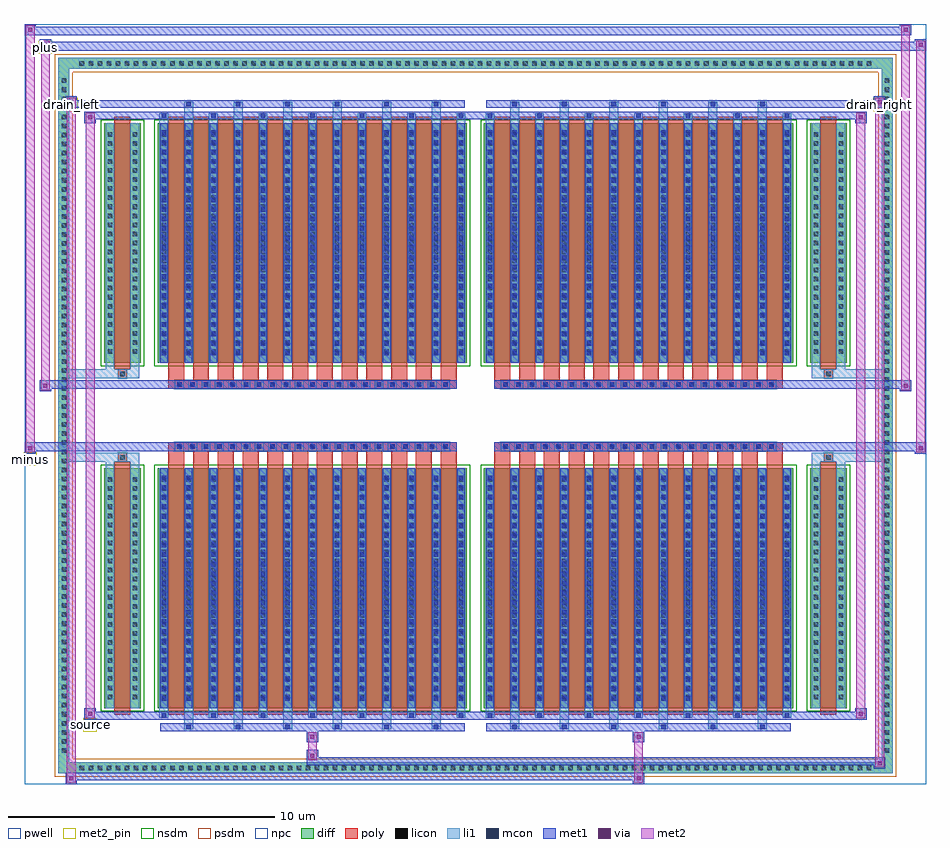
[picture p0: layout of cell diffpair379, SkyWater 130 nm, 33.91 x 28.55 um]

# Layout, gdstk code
import gdstk
lib = gdstk.Library(unit=1e-6, precision=5e-09)
def R(c, l, rs):  # rectangles x0, y0, x1, y1
    for r in rs: c.add(gdstk.rectangle(r[:2], r[2:], *l))
def A(c, l, x, y, w, h, nx, ny, dx, dy):  # array of equal rectangles
    R(c, l, [(x+i*dx, y+j*dy, x+i*dx+w, y+j*dy+h) for i in range(nx) for j in range(ny)])
def P(c, l, *ps):  # polygons
    for p in ps: c.add(gdstk.Polygon(p, *l))
pwell = (64, 44)
diff = (65, 20)
poly = (66, 20)
licon = (66, 44)
li1 = (67, 20)
mcon = (67, 44)
met1 = (68, 20)
via = (68, 44)
met2_pin = (69, 16)
met2 = (69, 20)
nsdm = (93, 44)
psdm = (94, 20)
npc = (95, 20)

diffpair379 = lib.new_cell('diffpair379')
R(diffpair379, pwell, [(-16.94,-13.84,16.94,14.71), (-14.26,-12.03,-0.01,-0.805), (0.01,-12.03,14.26,-0.805), (-14.26,0.805,-0.01,12.03), (0.01,0.805,14.26,12.03)])
A(diffpair379, diff, -14.995, -13.44, 0.41, 0.41, 88, 2, 0.34, 26.47)
A(diffpair379, diff, -15.67, -12.785, 0.41, 0.41, 1, 75, 0, 0.34)
A(diffpair379, diff, 15.26, -12.785, 0.41, 0.41, 1, 75, 0, 0.34)
R(diffpair379, diff, [(-14.995,-13.44,14.995,-13.03), (-15.67,-12.785,-15.26,12.785), (15.26,-12.785,15.67,12.785), (-13.95,-10.985,-12.57,-1.985), (-11.93,-10.985,-0.32,-1.985), (0.32,-10.985,11.93,-1.985), (12.57,-10.985,13.95,-1.985), (-13.95,1.985,-12.57,10.985), (-11.93,1.985,-0.32,10.985), (0.32,1.985,11.93,10.985), (12.57,1.985,13.95,10.985), (-14.995,13.03,14.995,13.44)])
P(diffpair379, diff, [(15.67,13.44),(-15.67,13.44),(-15.67,-13.03),(-15.26,-13.03),(-15.26,13.03),(15.26,13.03),(15.26,-13.03),(-15.26,-13.03),(-15.67,-13.03),(-15.67,-13.44),(15.67,-13.44)])
A(diffpair379, poly, -11.54, -11.235, 0.6, 9.5, 12, 2, 0.93, 12.97)
A(diffpair379, poly, 0.71, -11.235, 0.6, 9.5, 12, 2, 0.93, 12.97)
A(diffpair379, poly, -11.54, -1.735, 0.6, 0.4, 12, 2, 0.93, 3.07)
A(diffpair379, poly, 0.71, -1.735, 0.6, 0.4, 12, 2, 0.93, 3.07)
A(diffpair379, poly, -11.29, -1.335, 0.33, 0.33, 21, 2, 0.5, 2.34)
A(diffpair379, poly, 0.96, -1.335, 0.33, 0.33, 21, 2, 0.5, 2.34)
R(diffpair379, poly, [(-13.56,-11.235,-12.96,-1.735), (12.96,-11.235,13.56,-1.735), (-13.425,-1.735,-13.095,-1.405), (-13.425,-1.735,-13.095,-1.405), (13.095,-1.735,13.425,-1.405), (13.095,-1.735,13.425,-1.405), (-11.54,-1.335,-0.71,-1.005), (0.71,-1.335,11.54,-1.005), (-11.54,1.005,-0.71,1.335), (0.71,1.005,11.54,1.335), (-13.425,1.405,-13.095,1.735), (-13.425,1.405,-13.095,1.735), (13.095,1.405,13.425,1.735), (13.095,1.405,13.425,1.735), (-13.56,1.735,-12.96,11.235), (12.96,1.735,13.56,11.235)])
A(diffpair379, licon, -14.875, -13.32, 0.17, 0.17, 88, 2, 0.34, 26.47)
A(diffpair379, licon, -15.55, -12.665, 0.17, 0.17, 1, 75, 0, 0.34)
A(diffpair379, licon, 15.38, -12.665, 0.17, 0.17, 1, 75, 0, 0.34)
A(diffpair379, licon, -13.81, -10.65, 0.17, 0.17, 1, 25, 0, 0.34)
A(diffpair379, licon, -12.88, -10.65, 0.17, 0.17, 1, 25, 0, 0.34)
A(diffpair379, licon, -11.79, -10.65, 0.17, 0.17, 13, 25, 0.93, 0.34)
A(diffpair379, licon, 0.46, -10.65, 0.17, 0.17, 13, 25, 0.93, 0.34)
A(diffpair379, licon, 12.71, -10.65, 0.17, 0.17, 1, 25, 0, 0.34)
A(diffpair379, licon, 13.64, -10.65, 0.17, 0.17, 1, 25, 0, 0.34)
A(diffpair379, licon, -11.21, -1.255, 0.17, 0.17, 21, 2, 0.5, 2.34)
A(diffpair379, licon, 1.04, -1.255, 0.17, 0.17, 21, 2, 0.5, 2.34)
A(diffpair379, licon, -13.81, 2.32, 0.17, 0.17, 1, 25, 0, 0.34)
A(diffpair379, licon, -12.88, 2.32, 0.17, 0.17, 1, 25, 0, 0.34)
A(diffpair379, licon, -11.79, 2.32, 0.17, 0.17, 13, 25, 0.93, 0.34)
A(diffpair379, licon, 0.46, 2.32, 0.17, 0.17, 13, 25, 0.93, 0.34)
A(diffpair379, licon, 12.71, 2.32, 0.17, 0.17, 1, 25, 0, 0.34)
A(diffpair379, licon, 13.64, 2.32, 0.17, 0.17, 1, 25, 0, 0.34)
R(diffpair379, licon, [(-13.345,-1.655,-13.175,-1.485), (13.175,-1.655,13.345,-1.485), (-13.345,1.485,-13.175,1.655), (13.175,1.485,13.345,1.655)])
A(diffpair379, li1, -14.955, -13.4, 0.33, 0.33, 88, 2, 0.34, 26.47)
A(diffpair379, li1, -15.63, -12.745, 0.33, 0.33, 1, 75, 0, 0.34)
A(diffpair379, li1, 15.3, -12.745, 0.33, 0.33, 1, 75, 0, 0.34)
A(diffpair379, li1, -10.94, -11.79, 0.33, 0.805, 6, 2, 1.86, 22.775)
A(diffpair379, li1, -10.86, -11.79, 0.17, 0.17, 6, 2, 1.86, 23.41)
A(diffpair379, li1, 1.31, -11.79, 0.33, 0.805, 6, 2, 1.86, 22.775)
A(diffpair379, li1, 1.39, -11.79, 0.17, 0.17, 6, 2, 1.86, 23.41)
A(diffpair379, li1, -11.87, -11.36, 0.33, 0.375, 7, 2, 1.86, 22.345)
A(diffpair379, li1, -11.79, -11.36, 0.17, 0.17, 7, 2, 1.86, 22.55)
A(diffpair379, li1, 0.38, -11.36, 0.33, 0.375, 7, 2, 1.86, 22.345)
A(diffpair379, li1, 0.46, -11.36, 0.17, 0.17, 7, 2, 1.86, 22.55)
A(diffpair379, li1, -11.87, -10.985, 0.33, 9, 13, 2, 0.93, 12.97)
A(diffpair379, li1, 0.38, -10.985, 0.33, 9, 13, 2, 0.93, 12.97)
A(diffpair379, li1, -13.89, -10.73, 0.33, 0.33, 1, 25, 0, 0.34)
A(diffpair379, li1, -12.96, -10.73, 0.33, 0.33, 1, 25, 0, 0.34)
A(diffpair379, li1, -11.87, -10.73, 0.33, 0.33, 13, 25, 0.93, 0.34)
A(diffpair379, li1, 0.38, -10.73, 0.33, 0.33, 13, 25, 0.93, 0.34)
A(diffpair379, li1, 12.63, -10.73, 0.33, 0.33, 1, 25, 0, 0.34)
A(diffpair379, li1, 13.56, -10.73, 0.33, 0.33, 1, 25, 0, 0.34)
A(diffpair379, li1, -11.79, -10.71, 0.17, 0.17, 13, 24, 0.93, 0.36)
A(diffpair379, li1, -11.79, -10.71, 0.17, 8.45, 13, 2, 0.93, 12.97)
A(diffpair379, li1, 0.46, -10.71, 0.17, 0.17, 13, 24, 0.93, 0.36)
A(diffpair379, li1, 0.46, -10.71, 0.17, 8.45, 13, 2, 0.93, 12.97)
A(diffpair379, li1, -11.29, -1.335, 0.33, 0.33, 21, 2, 0.5, 2.34)
A(diffpair379, li1, 0.96, -1.335, 0.33, 0.33, 21, 2, 0.5, 2.34)
A(diffpair379, li1, -13.89, 2.24, 0.33, 0.33, 1, 25, 0, 0.34)
A(diffpair379, li1, -12.96, 2.24, 0.33, 0.33, 1, 25, 0, 0.34)
A(diffpair379, li1, -11.87, 2.24, 0.33, 0.33, 13, 25, 0.93, 0.34)
A(diffpair379, li1, 0.38, 2.24, 0.33, 0.33, 13, 25, 0.93, 0.34)
A(diffpair379, li1, 12.63, 2.24, 0.33, 0.33, 1, 25, 0, 0.34)
A(diffpair379, li1, 13.56, 2.24, 0.33, 0.33, 1, 25, 0, 0.34)
A(diffpair379, li1, -11.79, 2.26, 0.17, 0.17, 13, 24, 0.93, 0.36)
A(diffpair379, li1, 0.46, 2.26, 0.17, 0.17, 13, 24, 0.93, 0.36)
R(diffpair379, li1, [(-15.67,-13.44,-15.26,-13.03), (-15.67,-13.44,-15.26,-13.03), (-15.26,-13.44,15.26,-13.03), (15.26,-13.44,15.67,-13.03), (15.26,-13.44,15.67,-13.03), (-15.67,-13.03,-15.26,13.03), (15.26,-13.03,15.67,13.03), (-13.89,-10.985,-13.56,-1.985), (-12.96,-10.985,-12.63,-1.985), (12.63,-10.985,12.96,-1.985), (13.56,-10.985,13.89,-1.985), (-13.89,-1.985,-13.56,-1.405), (-12.96,-1.985,-12.63,-1.405), (12.63,-1.985,12.96,-1.405), (13.56,-1.985,13.89,-1.405), (-15.67,-1.735,-13.425,-1.405), (-13.89,-1.735,-13.425,-1.405), (-13.425,-1.735,-13.095,-1.405), (-13.095,-1.735,-12.63,-1.405), (12.63,-1.735,13.095,-1.405), (13.095,-1.735,13.425,-1.405), (13.095,-1.735,15.67,-1.405), (13.425,-1.735,13.89,-1.405), (-15.67,1.405,-13.425,1.735), (-13.89,1.405,-13.425,1.735), (-13.89,1.405,-13.56,1.985), (-13.425,1.405,-13.095,1.735), (-13.095,1.405,-12.63,1.735), (-12.96,1.405,-12.63,1.985), (12.63,1.405,13.095,1.735), (12.63,1.405,12.96,1.985), (13.095,1.405,13.425,1.735), (13.095,1.405,15.67,1.735), (13.425,1.405,13.89,1.735), (13.56,1.405,13.89,1.985), (-13.89,1.985,-13.56,10.985), (-12.96,1.985,-12.63,10.985), (12.63,1.985,12.96,10.985), (13.56,1.985,13.89,10.985), (-15.67,13.03,-15.26,13.44), (-15.67,13.03,-15.26,13.44), (-15.26,13.03,15.26,13.44), (15.26,13.03,15.67,13.44), (15.26,13.03,15.67,13.44)])
A(diffpair379, mcon, -10.86, -11.79, 0.17, 0.17, 6, 2, 1.86, 23.41)
A(diffpair379, mcon, 1.39, -11.79, 0.17, 0.17, 6, 2, 1.86, 23.41)
A(diffpair379, mcon, -11.79, -11.36, 0.17, 0.17, 7, 2, 1.86, 22.55)
A(diffpair379, mcon, 0.46, -11.36, 0.17, 0.17, 7, 2, 1.86, 22.55)
A(diffpair379, mcon, -11.79, -10.71, 0.17, 0.17, 13, 24, 0.93, 0.36)
A(diffpair379, mcon, 0.46, -10.71, 0.17, 0.17, 13, 24, 0.93, 0.36)
A(diffpair379, mcon, -11.21, -1.255, 0.17, 0.17, 21, 2, 0.5, 2.34)
A(diffpair379, mcon, 1.04, -1.255, 0.17, 0.17, 21, 2, 0.5, 2.34)
A(diffpair379, mcon, -11.79, 2.26, 0.17, 0.17, 13, 24, 0.93, 0.36)
A(diffpair379, mcon, 0.46, 2.26, 0.17, 0.17, 13, 24, 0.93, 0.36)
A(diffpair379, met1, -10.92, -11.85, 0.29, 0.29, 6, 2, 1.86, 23.41)
A(diffpair379, met1, 1.33, -11.85, 0.29, 0.29, 6, 2, 1.86, 23.41)
A(diffpair379, met1, -11.85, -11.42, 0.29, 0.29, 7, 2, 1.86, 22.55)
A(diffpair379, met1, 0.4, -11.42, 0.29, 0.29, 7, 2, 1.86, 22.55)
A(diffpair379, met1, -11.85, -10.985, 0.29, 9, 13, 2, 0.93, 12.97)
A(diffpair379, met1, 0.4, -10.985, 0.29, 9, 13, 2, 0.93, 12.97)
A(diffpair379, met1, -11.85, -10.77, 0.29, 0.29, 13, 24, 0.93, 0.36)
A(diffpair379, met1, 0.4, -10.77, 0.29, 0.29, 13, 24, 0.93, 0.36)
A(diffpair379, met1, -11.27, -1.315, 0.29, 0.29, 21, 2, 0.5, 2.34)
A(diffpair379, met1, 0.98, -1.315, 0.29, 0.29, 21, 2, 0.5, 2.34)
A(diffpair379, met1, -11.85, 2.2, 0.29, 0.29, 13, 24, 0.93, 0.36)
A(diffpair379, met1, 0.4, 2.2, 0.29, 0.29, 13, 24, 0.93, 0.36)
R(diffpair379, met1, [(-15.4,-13.84,-14.97,-13.41), (5.91,-13.84,6.34,-13.41), (-15.4,-13.7,6.34,-13.41), (14.97,-13.27,15.4,-12.84), (-6.34,-13.13,15.4,-12.84), (-6.34,-12.99,-5.91,-12.56), (-6.34,-12.28,-5.91,-11.85), (5.91,-12.28,6.34,-11.85), (-11.85,-11.85,-0.4,-11.56), (0.4,-11.85,11.85,-11.56), (-14.69,-11.42,-14.26,-10.99), (-14.69,-11.42,-11.85,-11.13), (-11.85,-11.42,-0.4,-11.13), (-0.4,-11.42,0.4,-11.13), (0.4,-11.42,11.85,-11.13), (11.85,-11.42,14.69,-11.13), (14.26,-11.42,14.69,-10.99), (-16.94,-1.435,-16.51,-1.005), (16.51,-1.435,16.94,-1.005), (-16.94,-1.335,-0.71,-1.005), (-11.54,-1.335,-0.71,-1.005), (0.71,-1.335,11.54,-1.005), (0.71,-1.335,16.94,-1.005), (-16.37,0.905,-15.94,1.335), (15.94,0.905,16.37,1.335), (-16.37,1.005,-11.54,1.335), (-11.54,1.005,-0.71,1.335), (0.71,1.005,11.54,1.335), (11.54,1.005,16.37,1.335), (-14.69,10.99,-14.26,11.42), (14.26,10.99,14.69,11.42), (-14.69,11.13,-11.85,11.42), (-11.85,11.13,-0.4,11.42), (-0.4,11.13,0.4,11.42), (0.4,11.13,11.85,11.42), (11.85,11.13,14.69,11.42), (-15.4,11.56,-14.97,11.99), (-15.4,11.56,-11.85,11.85), (-11.85,11.56,-0.4,11.85), (0.4,11.56,11.85,11.85), (11.85,11.56,15.4,11.85), (14.97,11.56,15.4,11.99), (-16.37,13.71,-15.94,14.14), (-16.37,13.71,-14.26,14.04), (-14.26,13.71,14.26,14.04), (14.26,13.71,16.94,14.04), (16.51,13.71,16.94,14.14), (-16.94,14.28,-16.51,14.71), (-16.94,14.28,-14.26,14.61), (-14.26,14.28,14.26,14.61), (14.26,14.28,16.37,14.61), (15.94,14.28,16.37,14.71)])
R(diffpair379, via, [(-15.26,-13.7,-15.11,-13.55), (6.05,-13.7,6.2,-13.55), (15.11,-13.13,15.26,-12.98), (-6.2,-12.85,-6.05,-12.7), (-6.2,-12.14,-6.05,-11.99), (6.05,-12.14,6.2,-11.99), (-14.55,-11.28,-14.4,-11.13), (14.4,-11.28,14.55,-11.13), (-16.8,-1.295,-16.65,-1.145), (16.65,-1.295,16.8,-1.145), (-16.23,1.045,-16.08,1.195), (16.08,1.045,16.23,1.195), (-14.55,11.13,-14.4,11.28), (14.4,11.13,14.55,11.28), (-15.26,11.7,-15.11,11.85), (15.11,11.7,15.26,11.85), (-16.23,13.85,-16.08,14), (16.65,13.85,16.8,14), (-16.8,14.42,-16.65,14.57), (16.08,14.42,16.23,14.57)])
R(diffpair379, met2_pin, [(-14.725,-11.87,-14.225,-11.37), (-16.975,-1.885,-16.475,-1.385), (-15.435,11.44,-14.935,11.94), (14.935,11.44,15.435,11.94), (-16.405,13.59,-15.905,14.09)])
R(diffpair379, met2, [(-15.35,-13.79,-15.02,-13.46), (-15.35,-13.79,-15.02,11.94), (5.96,-13.79,6.29,-13.46), (5.96,-13.46,6.29,-12.23), (15.02,-13.22,15.35,-12.89), (15.02,-13.22,15.35,11.94), (-6.29,-12.94,-5.96,-12.61), (-6.29,-12.61,-5.96,-12.23), (-6.29,-12.23,-5.96,-11.9), (5.96,-12.23,6.29,-11.9), (-14.64,-11.37,-14.31,-11.04), (-14.64,-11.37,-14.31,11.37), (14.31,-11.37,14.64,-11.04), (14.31,-11.37,14.64,11.37), (-16.89,-1.385,-16.56,-1.055), (-16.89,-1.385,-16.56,14.66), (16.56,-1.385,16.89,-1.055), (16.56,-1.385,16.89,14.09), (-16.32,0.955,-15.99,1.285), (-16.32,0.955,-15.99,14.09), (15.99,0.955,16.32,1.285), (15.99,0.955,16.32,14.66), (-14.64,11.04,-14.31,11.37), (14.31,11.04,14.64,11.37), (-15.35,11.61,-15.02,11.94), (15.02,11.61,15.35,11.94), (-16.32,13.76,-15.99,14.09), (16.56,13.76,16.89,14.09), (-16.89,14.33,-16.56,14.66), (15.99,14.33,16.32,14.66)])
P(diffpair379, met2, [(16.89,-1.385),(16.89,-1.385),(16.89,-1.055),(16.89,-1.055)],
  [(16.89,13.76),(16.89,13.76),(16.89,14.09),(16.89,14.09)],
  [(-16.56,-1.385),(-16.56,-1.385),(-16.56,-1.055),(-16.56,-1.055)],
  [(-16.56,14.33),(-16.56,14.33),(-16.56,14.66),(-16.56,14.66)],
  [(16.32,0.955),(16.32,0.955),(16.32,1.285),(16.32,1.285)],
  [(16.32,14.33),(16.32,14.33),(16.32,14.66),(16.32,14.66)],
  [(-15.99,0.955),(-15.99,0.955),(-15.99,1.285),(-15.99,1.285)],
  [(-15.99,13.76),(-15.99,13.76),(-15.99,14.09),(-15.99,14.09)],
  [(-15.02,-13.79),(-15.02,-13.79),(-15.02,-13.46),(-15.02,-13.46)],
  [(-15.02,11.61),(-15.02,11.61),(-15.02,11.94),(-15.02,11.94)],
  [(15.35,-13.22),(15.35,-13.22),(15.35,-12.89),(15.35,-12.89)],
  [(15.35,11.61),(15.35,11.61),(15.35,11.94),(15.35,11.94)],
  [(-14.31,-11.37),(-14.31,-11.37),(-14.31,-11.04),(-14.31,-11.04)],
  [(-14.31,11.04),(-14.31,11.04),(-14.31,11.37),(-14.31,11.37)],
  [(14.64,-11.37),(14.64,-11.37),(14.64,-11.04),(14.64,-11.04)],
  [(14.64,11.04),(14.64,11.04),(14.64,11.37),(14.64,11.37)])
R(diffpair379, nsdm, [(-14.08,-11.115,-12.44,-1.855), (-12.06,-11.115,-0.19,-1.855), (0.19,-11.115,12.06,-1.855), (12.44,-11.115,14.08,-1.855), (-14.08,1.855,-12.44,11.115), (-12.06,1.855,-0.19,11.115), (0.19,1.855,12.06,11.115), (12.44,1.855,14.08,11.115)])
P(diffpair379, psdm, [(15.8,13.57),(-15.8,13.57),(-15.8,-12.9),(-15.13,-12.9),(-15.13,12.9),(15.13,12.9),(15.13,-12.9),(-15.13,-12.9),(-15.8,-12.9),(-15.8,-13.57),(15.8,-13.57)])
A(diffpair379, npc, -11.31, -1.355, 0.37, 0.37, 21, 2, 0.5, 2.34)
A(diffpair379, npc, 0.94, -1.355, 0.37, 0.37, 21, 2, 0.5, 2.34)
R(diffpair379, npc, [(-13.445,-1.755,-13.075,-1.385), (13.075,-1.755,13.445,-1.385), (-11.31,-1.355,-10.44,-0.985), (-11.31,-1.355,-10.44,-0.985), (-10.81,-1.355,-9.94,-0.985), (-10.81,-1.355,-9.94,-0.985), (-10.31,-1.355,-9.44,-0.985), (-10.31,-1.355,-9.44,-0.985), (-9.81,-1.355,-8.94,-0.985), (-9.81,-1.355,-8.94,-0.985), (-9.31,-1.355,-8.44,-0.985), (-9.31,-1.355,-8.44,-0.985), (-8.81,-1.355,-7.94,-0.985), (-8.81,-1.355,-7.94,-0.985), (-8.31,-1.355,-7.44,-0.985), (-8.31,-1.355,-7.44,-0.985), (-7.81,-1.355,-6.94,-0.985), (-7.81,-1.355,-6.94,-0.985), (-7.31,-1.355,-6.44,-0.985), (-7.31,-1.355,-6.44,-0.985), (-6.81,-1.355,-5.94,-0.985), (-6.81,-1.355,-5.94,-0.985), (-6.31,-1.355,-5.44,-0.985), (-6.31,-1.355,-5.44,-0.985), (-5.81,-1.355,-4.94,-0.985), (-5.81,-1.355,-4.94,-0.985), (-5.31,-1.355,-4.44,-0.985), (-5.31,-1.355,-4.44,-0.985), (-4.81,-1.355,-3.94,-0.985), (-4.81,-1.355,-3.94,-0.985), (-4.31,-1.355,-3.44,-0.985), (-4.31,-1.355,-3.44,-0.985), (-3.81,-1.355,-2.94,-0.985), (-3.81,-1.355,-2.94,-0.985), (-3.31,-1.355,-2.44,-0.985), (-3.31,-1.355,-2.44,-0.985), (-2.81,-1.355,-1.94,-0.985), (-2.81,-1.355,-1.94,-0.985), (-2.31,-1.355,-1.44,-0.985), (-2.31,-1.355,-1.44,-0.985), (-1.81,-1.355,-0.94,-0.985), (-1.81,-1.355,-0.94,-0.985), (0.94,-1.355,1.81,-0.985), (0.94,-1.355,1.81,-0.985), (1.44,-1.355,2.31,-0.985), (1.44,-1.355,2.31,-0.985), (1.94,-1.355,2.81,-0.985), (1.94,-1.355,2.81,-0.985), (2.44,-1.355,3.31,-0.985), (2.44,-1.355,3.31,-0.985), (2.94,-1.355,3.81,-0.985), (2.94,-1.355,3.81,-0.985), (3.44,-1.355,4.31,-0.985), (3.44,-1.355,4.31,-0.985), (3.94,-1.355,4.81,-0.985), (3.94,-1.355,4.81,-0.985), (4.44,-1.355,5.31,-0.985), (4.44,-1.355,5.31,-0.985), (4.94,-1.355,5.81,-0.985), (4.94,-1.355,5.81,-0.985), (5.44,-1.355,6.31,-0.985), (5.44,-1.355,6.31,-0.985), (5.94,-1.355,6.81,-0.985), (5.94,-1.355,6.81,-0.985), (6.44,-1.355,7.31,-0.985), (6.44,-1.355,7.31,-0.985), (6.94,-1.355,7.81,-0.985), (6.94,-1.355,7.81,-0.985), (7.44,-1.355,8.31,-0.985), (7.44,-1.355,8.31,-0.985), (7.94,-1.355,8.81,-0.985), (7.94,-1.355,8.81,-0.985), (8.44,-1.355,9.31,-0.985), (8.44,-1.355,9.31,-0.985), (8.94,-1.355,9.81,-0.985), (8.94,-1.355,9.81,-0.985), (9.44,-1.355,10.31,-0.985), (9.44,-1.355,10.31,-0.985), (9.94,-1.355,10.81,-0.985), (9.94,-1.355,10.81,-0.985), (10.44,-1.355,11.31,-0.985), (10.44,-1.355,11.31,-0.985), (-11.31,0.985,-10.44,1.355), (-11.31,0.985,-10.44,1.355), (-10.81,0.985,-9.94,1.355), (-10.81,0.985,-9.94,1.355), (-10.31,0.985,-9.44,1.355), (-10.31,0.985,-9.44,1.355), (-9.81,0.985,-8.94,1.355), (-9.81,0.985,-8.94,1.355), (-9.31,0.985,-8.44,1.355), (-9.31,0.985,-8.44,1.355), (-8.81,0.985,-7.94,1.355), (-8.81,0.985,-7.94,1.355), (-8.31,0.985,-7.44,1.355), (-8.31,0.985,-7.44,1.355), (-7.81,0.985,-6.94,1.355), (-7.81,0.985,-6.94,1.355), (-7.31,0.985,-6.44,1.355), (-7.31,0.985,-6.44,1.355), (-6.81,0.985,-5.94,1.355), (-6.81,0.985,-5.94,1.355), (-6.31,0.985,-5.44,1.355), (-6.31,0.985,-5.44,1.355), (-5.81,0.985,-4.94,1.355), (-5.81,0.985,-4.94,1.355), (-5.31,0.985,-4.44,1.355), (-5.31,0.985,-4.44,1.355), (-4.81,0.985,-3.94,1.355), (-4.81,0.985,-3.94,1.355), (-4.31,0.985,-3.44,1.355), (-4.31,0.985,-3.44,1.355), (-3.81,0.985,-2.94,1.355), (-3.81,0.985,-2.94,1.355), (-3.31,0.985,-2.44,1.355), (-3.31,0.985,-2.44,1.355), (-2.81,0.985,-1.94,1.355), (-2.81,0.985,-1.94,1.355), (-2.31,0.985,-1.44,1.355), (-2.31,0.985,-1.44,1.355), (-1.81,0.985,-0.94,1.355), (-1.81,0.985,-0.94,1.355), (0.94,0.985,1.81,1.355), (0.94,0.985,1.81,1.355), (1.44,0.985,2.31,1.355), (1.44,0.985,2.31,1.355), (1.94,0.985,2.81,1.355), (1.94,0.985,2.81,1.355), (2.44,0.985,3.31,1.355), (2.44,0.985,3.31,1.355), (2.94,0.985,3.81,1.355), (2.94,0.985,3.81,1.355), (3.44,0.985,4.31,1.355), (3.44,0.985,4.31,1.355), (3.94,0.985,4.81,1.355), (3.94,0.985,4.81,1.355), (4.44,0.985,5.31,1.355), (4.44,0.985,5.31,1.355), (4.94,0.985,5.81,1.355), (4.94,0.985,5.81,1.355), (5.44,0.985,6.31,1.355), (5.44,0.985,6.31,1.355), (5.94,0.985,6.81,1.355), (5.94,0.985,6.81,1.355), (6.44,0.985,7.31,1.355), (6.44,0.985,7.31,1.355), (6.94,0.985,7.81,1.355), (6.94,0.985,7.81,1.355), (7.44,0.985,8.31,1.355), (7.44,0.985,8.31,1.355), (7.94,0.985,8.81,1.355), (7.94,0.985,8.81,1.355), (8.44,0.985,9.31,1.355), (8.44,0.985,9.31,1.355), (8.94,0.985,9.81,1.355), (8.94,0.985,9.81,1.355), (9.44,0.985,10.31,1.355), (9.44,0.985,10.31,1.355), (9.94,0.985,10.81,1.355), (9.94,0.985,10.81,1.355), (10.44,0.985,11.31,1.355), (10.44,0.985,11.31,1.355), (-13.445,1.385,-13.075,1.755), (13.075,1.385,13.445,1.755)])
diffpair379.add(gdstk.Label('minus', (-16.725,-1.635), layer=69, texttype=5))
diffpair379.add(gdstk.Label('drain_right', (15.185,11.69), layer=69, texttype=5))
diffpair379.add(gdstk.Label('drain_left', (-15.185,11.69), layer=69, texttype=5))
diffpair379.add(gdstk.Label('source', (-14.475,-11.62), layer=69, texttype=5))
diffpair379.add(gdstk.Label('plus', (-16.155,13.84), layer=69, texttype=5))

lib.write_gds('diffpair379.gds')
